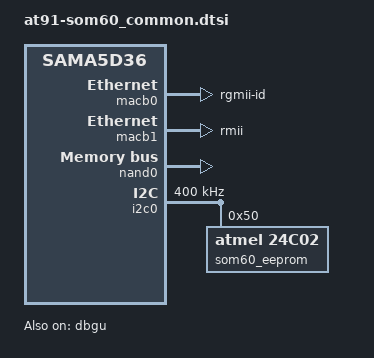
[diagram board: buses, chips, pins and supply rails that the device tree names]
// SPDX-License-Identifier: GPL-2.0
/*
 * at91-som60_common.dtsi - Device Tree file for the SOM60 module
 *
 *  Copyright (C) 2018-2024 Ezurio,
 *		  2018 Ben Whitten <ben.whitten@ezurio.com>
 *		  2018 Boris Krasnovskiy <boris.krasnovskiy@ezurio.com>
 *
 */
#include "sama5d36.dtsi"

/ {
	chosen {
		stdout-path = "serial0:115200n8";
	};

	/*
	 * This is a development-only AES128 key passed from U-Boot into
	 * the kernel for the encrypted file systems; it will be
	 * replaced in manufacturing with a production key.
	 */
	encryption {
		summit,fs-key = <
			0xbf4a626e 0x68ddba72 0x36094531 0x15fa806c
			0x38862932 0x3078d54f 0x0b3e3d9f 0x0adfaae5
			0xb194f2cd 0x402bc3c6 0x35b7d66c 0xd06c9e8d
			0xc080cede 0xd8bff74a 0xc16c2cfe 0xeaca5bbf
		>;
	};

	ahb {
		apb {
			pinctrl@fffff200 {
				board {
					bootph-all;
					pinctrl_nand0_wp: nand0_wp {
						atmel,pins = <AT91_PIOE 14 AT91_PERIPH_GPIO AT91_PINCTRL_NONE>;
					};
				};

				mmc0 {
					mmc0_dat4_7 {
						/delete-node/ u-boot,dm-pre-reloc;
					};
				};

				mmc1 {
					/delete-property/ u-boot,dm-pre-reloc;
					mmc1_clk_cmd_dat0 {
						/delete-property/ u-boot,dm-pre-reloc;
					};

					mmc1_dat1_3 {
						/delete-property/ u-boot,dm-pre-reloc;
					};
				};

				spi0 {
					/delete-property/ u-boot,dm-pre-reloc;
					spi0-0 {
						/delete-property/ u-boot,dm-pre-reloc;
					};
				};

				spi1 {
					/delete-property/ u-boot,dm-pre-reloc;
					spi1-0 {
						/delete-property/ u-boot,dm-pre-reloc;
					};
				};
			};
/*
			sha@f8034000 {
				u-boot,dm-pre-reloc;
			};
*/
			watchdog@fffffe40 {
				bootph-all;
				status = "okay";
			};
		};
	};
};

&mmc0 {
	slot@0 {
		reg = <0>;
		bus-width = <4>;
	};
};

&slow_xtal {
	clock-frequency = <32768>;
};

&main_xtal {
	clock-frequency = <12000000>;
};

&slow_osc {
	atmel,osc-bypass;
};

&macb0 {
	phy-mode = "rgmii-id";
	nvmem-cells = <&eth_mac0>;
	nvmem-cell-names = "mac-address";
};

&macb1 {
	phy-mode = "rmii";
	nvmem-cells = <&eth_mac1>;
	nvmem-cell-names = "mac-address";
};

&dbgu {
	bootph-all;
	status = "okay";
};

&nand0 {
	pinctrl-0 = <&pinctrl_nand0_ale_cle &pinctrl_nand0_wp>;
	nand-bus-width = <8>;
	nand-ecc-mode = "hw";
	atmel,has-pmecc;
	atmel,pmecc-cap = <8>;
	atmel,pmecc-sector-size = <512>;

	/*
	 * Note - nand-on-flash-bbt requires the last 4 blocks on
	 * flash to be reserved for bad block table.  These blocks
	 * can be used in partitions only if bbt is not stored on flash.
	 */
	nand-on-flash-bbt;
	status = "okay";
};

&twi0_clk {
	bootph-all;
};

&pinctrl_i2c0 {
	bootph-all;
	atmel,pins =
		<AT91_PIOA 30 AT91_PERIPH_A AT91_PINCTRL_PULL_UP	/* PA30 periph A TWD0 pin, conflicts with URXD1, ISI_VSYNC */
		 AT91_PIOA 31 AT91_PERIPH_A AT91_PINCTRL_PULL_UP>;	/* PA31 periph A TWCK0 pin, conflicts with UTXD1, ISI_HSYNC */
};

&i2c0 {
	bootph-all;
	status = "okay";
	clock-frequency = <400000>;

	som60_eeprom: eeprom@50 {
		bootph-all;
		compatible = "atmel,24c02";
		reg = <0x50>;
		pagesize = <1>;

		/* For nvmem subnodes */
		#address-cells = <1>;
		#size-cells = <1>;

		nvmem-cells = <&board_hw_id>, <&eth_mac0>, <&eth_mac1>;
		nvmem-cell-names = "hw-id", "mac-address0", "mac-address1";

		board_hw_id: hw-id@0 {
			bootph-all;
			reg = <0x00 0x02>;
		};

		eth_mac1: mac-address@8 {
			bootph-all;
			reg = <0x08 0x06>;
		};
		eth_mac0: mac-address@2 {
			bootph-all;
			reg = <0x02 0x06>;
		};
	};
};
/*
&sha_clk {
	u-boot,dm-pre-reloc;
};
*/
&mci1_clk {
	/delete-property/ bootph-all;
};

&spi0_clk {
	/delete-property/ bootph-all;
};

&spi1_clk {
	/delete-property/ bootph-all;
};
